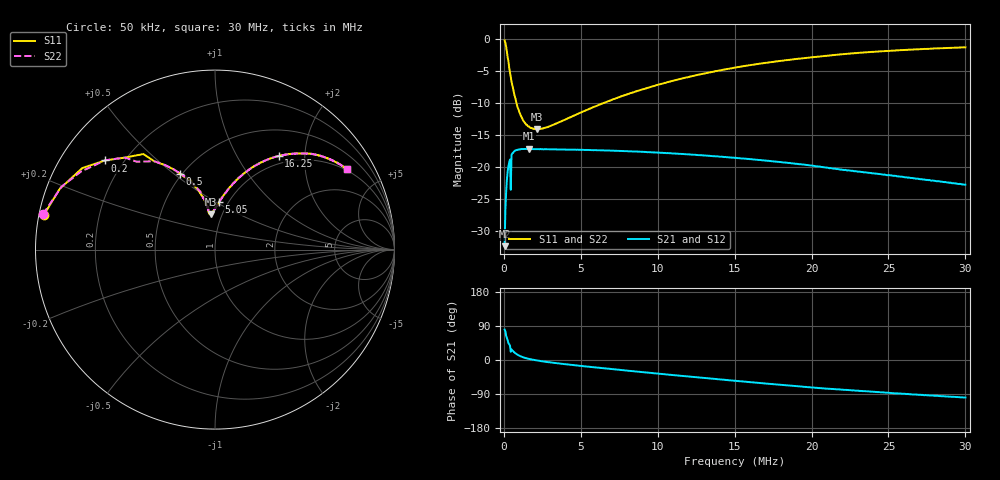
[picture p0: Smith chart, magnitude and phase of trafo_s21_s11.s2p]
# MHz S MA R 50
!  freq  S11  S21  S12  S22
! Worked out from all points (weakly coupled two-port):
!   600 points, 50 kHz to 30 MHz, reference 50 ohm
!   highest |S21| = -17.13 dB at 1.65 MHz (marker M1); lowest = -32.4 dB at 50 kHz (marker M2)
!   lowest |S11| = -14.1 dB at 2.15 MHz (marker M3), VSWR 1.49, Z = 44.2 + j18 ohm
!   |S11| at or under -10 dB: 820.8 kHz to 6.493 MHz (5.673 MHz wide, 155 % of centre)
!   |S22| runs from -14.1 to -0.2 dB; largest |S21 - S12| = 0.0088
!   S11 on the Smith chart (normalised r, x): 50 kHz: 0.01, +0.10; 200 kHz: 0.13, +0.35; 500 kHz: 0.49, +0.53; 5.05 MHz: 0.91, +0.52; 16.25 MHz: 0.87, +1.51; 30 MHz: 0.95, +3.29
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0.05  0.9732 168.5  0.02408 80.4  0.0242 81.6  0.9786 168.4
0.1  0.9289 158.6  0.04599 75.8  0.04624 76.2  0.9243 157.7
0.2  0.7889 141.0  0.07998 58.2  0.07958 58.1  0.7882 140.8
0.25  0.7173 134.4  0.09215 52.1  0.09185 52.1  0.7184 134.4
0.35  0.5959 124.5  0.1087 41.8  0.1086 41.8  0.5963 124.4
0.45  0.5039 117.4  0.06645 21.8  0.06645 21.8  0.5037 117.2
0.5  0.466 114.7  0.1245 27.8  0.1248 27.8  0.4691 114.8
0.6  0.4099 109.1  0.1287 23.6  0.131 22.9  0.4138 111.0
0.65  0.3826 108.5  0.1317 21.1  0.1306 21.3  0.3795 108.0
0.9  0.2913 101.6  0.1359 13.8  0.1378 13.8  0.2969 103.3
1.25  0.2317 99.5  0.1385 7.2  0.1382 7.3  0.2319 99.6
1.65  0.2065 99.2  0.1392 2.7  0.1384 2.8  0.2048 98.5
2.15  0.1974 96.9  0.1378 -1.1  0.1376 -1.2  0.1974 96.9
3  0.2086 93.5  0.1375 -6.3  0.1371 -6.3  0.2082 93.4
5.05  0.2675 85.0  0.136 -15.8  0.136 -15.7  0.2675 84.8
7.8  0.3621 76.2  0.1331 -27.1  0.133 -27.1  0.3613 76.1
10.05  0.4399 70.2  0.1295 -36.1  0.1294 -36.1  0.4379 70.2
15.05  0.5974 58.5  0.1179 -54.9  0.1179 -55.0  0.5971 58.5
16.25  0.6302 55.8  0.1143 -59.2  0.1144 -59.2  0.6299 55.8
20.05  0.7198 48.0  0.1025 -72.5  0.1022 -72.6  0.7189 48.2
25.05  0.8081 39.0  0.08629 -86.8  0.08636 -87.0  0.8081 39.0
30  0.8604 31.5  0.07283 -99.0  0.07293 -99.2  0.86 31.5
